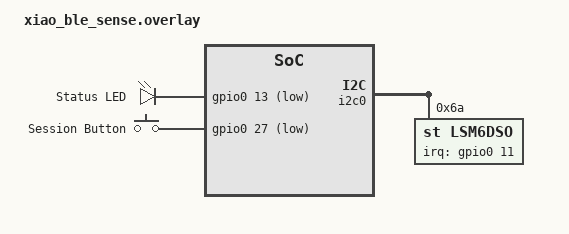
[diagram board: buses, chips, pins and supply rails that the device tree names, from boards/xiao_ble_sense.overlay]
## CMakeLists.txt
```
cmake_minimum_required(VERSION 3.20.0)
find_package(Zephyr REQUIRED HINTS $ENV{ZEPHYR_BASE})
project(gait_device)

target_link_libraries(app PRIVATE m)

target_sources(app PRIVATE
  src/main.c
  src/imu/calibration.c
  src/gait/gait_engine.c
  src/gait/step_detector.c
  src/gait/phase_segmenter.c
  src/gait/foot_angle.c
  src/gait/rolling_window.c
  src/session/session_mgr.c
  src/session/snapshot_buffer.c
)

# IMU reader: real hardware uses I2C driver; sim mode uses memory-mapped stub
if(CONFIG_GAIT_RENODE_SIM)
  target_sources(app PRIVATE src/imu/imu_sim_reader.c)
else()
  target_sources(app PRIVATE src/imu/imu_reader.c)
  target_sources(app PRIVATE src/ble/ble_gait_svc.c)
endif()
```

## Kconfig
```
# Gait device application Kconfig
#
# Top-level symbol declarations for the gait_device firmware.
# Zephyr's Kconfig system reads this file from the project root.

mainmenu "Gait Device Configuration"

config GAIT_RENODE_SIM
	bool "Renode simulation mode (CONFIG_GAIT_RENODE_SIM)"
	default n
	help
	  Build the firmware in Renode simulation mode.
	  Replaces the real LSM6DS3 I2C IMU driver with a sysbus-mapped
	  Python peripheral stub (imu_sim_reader.c) that reads pre-written
	  float32 samples from /tmp/gait_imu_sim.f32.
	  Also skips BLE init and NVS calibration for headless simulation.

source "Kconfig.zephyr"
```

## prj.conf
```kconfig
CONFIG_I2C=y
CONFIG_BT=y
CONFIG_BT_PERIPHERAL=y
CONFIG_BT_DEVICE_NAME="GaitSense"
CONFIG_BT_MAX_CONN=1
CONFIG_BT_ATT_PREPARE_COUNT=2
CONFIG_RING_BUFFER=y
CONFIG_FPU=y
CONFIG_FPU_SHARING=y
CONFIG_PM=y
CONFIG_NVS=y
CONFIG_FLASH=y
CONFIG_FLASH_MAP=y
CONFIG_SENSOR=y
CONFIG_LSM6DSO=y
CONFIG_LSM6DSO_TRIGGER_GLOBAL_THREAD=y
CONFIG_PRINTK=y
CONFIG_LOG=y
CONFIG_LOG_DEFAULT_LEVEL=3
CONFIG_MAIN_STACK_SIZE=2048
CONFIG_SYSTEM_WORKQUEUE_STACK_SIZE=2048
```

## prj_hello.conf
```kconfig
CONFIG_PRINTK=y
CONFIG_FLASH_LOAD_OFFSET=0x1000
CONFIG_FLASH_LOAD_SIZE=0xFF000
CONFIG_USB_DEVICE_STACK=y
CONFIG_USB_CDC_ACM=y
CONFIG_SERIAL=y
CONFIG_UART_INTERRUPT_DRIVEN=y
CONFIG_UART_LINE_CTRL=y
CONFIG_I2C=y
CONFIG_SENSOR=y
CONFIG_LSM6DSL=y
CONFIG_LSM6DSL_TRIGGER_NONE=y
CONFIG_FPU=y
CONFIG_FPU_SHARING=y
CONFIG_MAIN_STACK_SIZE=2048
CONFIG_SYSTEM_WORKQUEUE_STACK_SIZE=2048
```

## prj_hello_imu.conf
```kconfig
CONFIG_PRINTK=y
CONFIG_FLASH_LOAD_OFFSET=0x1000
CONFIG_FLASH_LOAD_SIZE=0xFF000
CONFIG_USB_DEVICE_STACK=y
CONFIG_USB_CDC_ACM=y
CONFIG_SERIAL=y
CONFIG_UART_INTERRUPT_DRIVEN=y
CONFIG_UART_LINE_CTRL=y
CONFIG_I2C=y
CONFIG_REGULATOR=y
CONFIG_SENSOR=y
CONFIG_LSM6DSL=y
CONFIG_LSM6DSL_TRIGGER_NONE=y
CONFIG_FPU=y
CONFIG_FPU_SHARING=y
CONFIG_MAIN_STACK_SIZE=2048
CONFIG_SYSTEM_WORKQUEUE_STACK_SIZE=2048
```

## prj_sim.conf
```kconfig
# Renode simulation firmware configuration
# Build with: pio run -e xiaoble_sense_sim
#
# Key difference from prj.conf:
#   CONFIG_GAIT_RENODE_SIM=y  — selects imu_sim_reader.c instead of imu_reader.c
#                                and skips BLE / NVS calibration
#   CONFIG_LSM6DSO=n          — IMU sensor not used; no I2C driver compiled in

CONFIG_GAIT_RENODE_SIM=y

# Firmware stack — sim-only: disable BT/I2C/NVS/PM to avoid Renode peripheral floods
# BT stack causes heavy RADIO peripheral accesses that slow simulation to <1% real-time
# I2C not needed (IMU is memory-mapped stub at 0x400B0000)
# NVS not needed (calibration persistence skipped in sim)
CONFIG_I2C=n
CONFIG_BT=n
CONFIG_BT_PERIPHERAL=n
CONFIG_RING_BUFFER=y
CONFIG_FPU=y
CONFIG_FPU_SHARING=y
CONFIG_PM=n
CONFIG_NVS=n
CONFIG_SENSOR=n

# Disable actual LSM6DSO driver — sim mode reads from sysbus stub
CONFIG_LSM6DSO=n
CONFIG_LSM6DSO_TRIGGER_GLOBAL_THREAD=n

# Logging / console
# CONFIG_LOG=n: Zephyr deferred log thread blocks on ENDTX interrupt that
# the Python UART stub never fires → gait thread never runs (BUG-004).
# printk() uses a direct poll path that the stub handles correctly.
# The gait engine (STEP/SNAPSHOT/SESSION_END) uses printk, not LOG macros.
CONFIG_SERIAL=y
CONFIG_CONSOLE=y
CONFIG_UART_CONSOLE=y
CONFIG_LOG=n
CONFIG_PRINTK=y
# Enable floating-point in cbprintf so printk("%.1f") prints actual values
CONFIG_CBPRINTF_FP_SUPPORT=y

# BLE simulation bypass — dump rolling_snapshot_t structs as hex over UART
# after session end so the Python test can validate binary unpack.
# Must NOT be set for hardware builds (disables BLE entirely).
CONFIG_GAIT_UART_EXPORT=y
```

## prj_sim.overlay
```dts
/* Renode simulation DTS overlay.
 * Applied only to the xiaoble_sense_sim build (via platformio.ini DTC_OVERLAY_FILE).
 *
 * Switches uart0 from "nordic,nrf-uarte" (EasyDMA) to "nordic,nrf-uart" (legacy,
 * no DMA). The legacy driver writes directly to the TXD register without
 * EasyDMA or PPI, which Renode 1.16's uart0 model handles correctly.
 * The UARTE driver's wait_tx_ready() loop waits for EVENTS_TXSTOPPED, but
 * Renode does not set it after EasyDMA TX — causing a hang. Legacy UART avoids this.
 */
&uart0 {
    compatible = "nordic,nrf-uart";
    status = "okay";
};
```

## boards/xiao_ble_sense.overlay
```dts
/*
 * Device tree overlay for Seeed XIAO nRF52840 Sense
 *
 * Enables LSM6DSO (register-compatible with LSM6DS3TR-C) on I2C0
 * with FIFO watermark interrupt on INT1.
 *
 * Zephyr board variant: nrf52840dk_nrf52840
 * Zephyr I2C0 alias: i2c0  (TWI0 on nRF52840 DK → P0.26 SDA, P0.27 SCL)
 *
 * For Renode simulation:
 *   INT1 is wired to gpio0.pin11 in renode/gait_nrf52840.repl.
 *   The Python stub asserts this line when FIFO reaches watermark (32 samples).
 *
 * On real XIAO hardware the SDA/SCL are on different pads; the nRF52840 DK
 * Zephyr BSP wires &i2c0 to the DK's Arduino-compatible header — both are
 * on the same nRF52840 TWI0 peripheral so register-level firmware is
 * identical.
 */

&i2c0 {
    status = "okay";

    lsm6dso: lsm6dso@6a {
        compatible = "st,lsm6dso";    /* LSM6DSO driver; register-compatible with LSM6DS3TR-C */
        reg = <0x6a>;
        irq-gpios = <&gpio0 11 GPIO_ACTIVE_HIGH>;  /* INT1 → P0.11 */
        int-pin = <1>;
    };
};

/* Status LED — DK LED1 is P0.13 (active low on DK, active high on XIAO; same logic) */
/ {
    leds {
        compatible = "gpio-leds";
        led_status: led_0 {
            gpios = <&gpio0 13 GPIO_ACTIVE_LOW>;
            label = "Status LED";
        };
    };

    buttons {
        compatible = "gpio-keys";
        btn_session: btn_0 {
            gpios = <&gpio0 27 (GPIO_PULL_UP | GPIO_ACTIVE_LOW)>;
            label = "Session Button";
        };
    };
};
```

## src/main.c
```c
#include <kernel.h>
#include <logging/log.h>
#include "imu/imu_reader.h"
#include "imu/calibration.h"
#include "gait/gait_engine.h"
#include "session/session_mgr.h"
#include "ble/ble_gait_svc.h"

LOG_MODULE_REGISTER(main, LOG_LEVEL_INF);

/* ------------------------------------------------------------------ */
/* IMU drain thread                                                     */
/* Highest priority — drains imu_sample_queue and feeds gait engine.   */
/* ------------------------------------------------------------------ */
static imu_calibration_t cal;

static void imu_thread_fn(void *a, void *b, void *c)
{
    ARG_UNUSED(a); ARG_UNUSED(b); ARG_UNUSED(c);

    imu_sample_t s;
    while (1) {
        imu_reader_get(&s);          /* blocks until sample available */
        calibration_apply(&cal, &s);
        gait_engine_update(&s);
    }
}

K_THREAD_DEFINE(imu_tid, 2048, imu_thread_fn, NULL, NULL, NULL, -2, 0, 0);

/* ------------------------------------------------------------------ */
/* Main                                                                  */
/* ------------------------------------------------------------------ */
int main(void)
{
    LOG_INF("GaitSense v0.1 — booting");

    if (imu_reader_init() != 0) {
        LOG_ERR("IMU init failed — halting");
        return -1;
    }

    /* Load calibration; run if none stored */
    if (calibration_load(&cal) != 0) {
        LOG_INF("No calibration — running now (hold still)");
        calibration_run(&cal);
    }

    session_mgr_init();

    if (ble_gait_svc_init() != 0) {
        LOG_ERR("BLE init failed");
        return -1;
    }

    LOG_INF("Boot complete — press button to start session");

    /* Main thread parks; all work done in imu_thread, session_thread, ble_thread */
    while (1) {
        k_sleep(K_SECONDS(10));
    }
    return 0;
}
```

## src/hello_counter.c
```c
#include <kernel.h>
#include <usb/usb_device.h>
#include <drivers/uart.h>
#include <stdio.h>

static void cdc_send(const struct device *dev, const char *buf, int len)
{
    for (int i = 0; i < len; i++) {
        uart_poll_out(dev, buf[i]);
    }
}

int main(void)
{
    const struct device *cdc_uart;
    uint32_t dtr = 0;

    if (usb_enable(NULL) != 0) return -1;

    cdc_uart = device_get_binding("CDC_ACM_0");
    if (!cdc_uart) return -1;

    while (!dtr) {
        uart_line_ctrl_get(cdc_uart, UART_LINE_CTRL_DTR, &dtr);
        k_sleep(K_MSEC(100));
    }

    int n = 0;
    char buf[16];
    while (1) {
        int len = snprintf(buf, sizeof(buf), "%d\n", n++);
        cdc_send(cdc_uart, buf, len);
        k_sleep(K_MSEC(500));
    }
}
```

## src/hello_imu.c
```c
#include <kernel.h>
#include <usb/usb_device.h>
#include <drivers/uart.h>
#include <drivers/sensor.h>
#include <drivers/i2c.h>
#include <drivers/gpio.h>
#include <stdio.h>

static void cdc_send(const struct device *dev, const char *buf, int len)
{
    for (int i = 0; i < len; i++) {
        uart_poll_out(dev, buf[i]);
    }
}

int main(void)
{
    const struct device *cdc_uart;
    const struct device *imu;
    uint32_t dtr = 0;

    if (usb_enable(NULL) != 0) return -1;

    cdc_uart = device_get_binding("CDC_ACM_0");
    if (!cdc_uart) return -1;

    /* Wait for host to open port (asserts DTR) */
    while (!dtr) {
        uart_line_ctrl_get(cdc_uart, UART_LINE_CTRL_DTR, &dtr);
        k_sleep(K_MSEC(100));
    }

    /* P1.08 driven HIGH by gpio-hog in overlay (fires before drivers init) */
    cdc_send(cdc_uart, "P1.08 via hog\n", 14);

    /* Direct WHO_AM_I probe — SDA=P0.07 SCL=P0.27 via TWIM */
    const struct device *i2c = device_get_binding("I2C_0");
    char sbuf[64];
    if (!i2c) {
        cdc_send(cdc_uart, "I2C_0 not found\n", 16);
    } else {
        cdc_send(cdc_uart, "I2C_0 ok\n", 9);
        uint8_t reg = 0x0F, who = 0;
        int r = i2c_write_read(i2c, 0x6A, &reg, 1, &who, 1);
        int l = snprintf(sbuf, sizeof(sbuf), "WHO_AM_I@0x6A: ret=%d val=0x%02x\n", r, who);
        cdc_send(cdc_uart, sbuf, l);
    }

    cdc_send(cdc_uart, "getting device\n", 15);
    imu = DEVICE_DT_GET_ANY(st_lsm6dsl);
    if (!imu) {
        cdc_send(cdc_uart, "ERR: no DT node\n", 16);
        return -1;
    }
    cdc_send(cdc_uart, "DT node ok\n", 11);
    if (!device_is_ready(imu)) {
        cdc_send(cdc_uart, "ERR: not ready\n", 15);
        return -1;
    }
    cdc_send(cdc_uart, "IMU ready\n", 10);

    struct sensor_value ax, ay, az, gx, gy, gz;
    int n = 0;
    char buf[96];

    while (1) {
        k_sleep(K_MSEC(5));   /* ~200 Hz poll */
        if (++n % 20 != 0) continue;  /* print ~10 Hz */

        sensor_sample_fetch(imu);

        sensor_channel_get(imu, SENSOR_CHAN_ACCEL_X, &ax);
        sensor_channel_get(imu, SENSOR_CHAN_ACCEL_Y, &ay);
        sensor_channel_get(imu, SENSOR_CHAN_ACCEL_Z, &az);
        sensor_channel_get(imu, SENSOR_CHAN_GYRO_X,  &gx);
        sensor_channel_get(imu, SENSOR_CHAN_GYRO_Y,  &gy);
        sensor_channel_get(imu, SENSOR_CHAN_GYRO_Z,  &gz);

        int len = snprintf(buf, sizeof(buf),
            "ax:%.3f ay:%.3f az:%.3f gx:%.2f gy:%.2f gz:%.2f\n",
            sensor_value_to_double(&ax),
            sensor_value_to_double(&ay),
            sensor_value_to_double(&az),
            sensor_value_to_double(&gx),
            sensor_value_to_double(&gy),
            sensor_value_to_double(&gz));
        cdc_send(cdc_uart, buf, len);
    }
}
```
